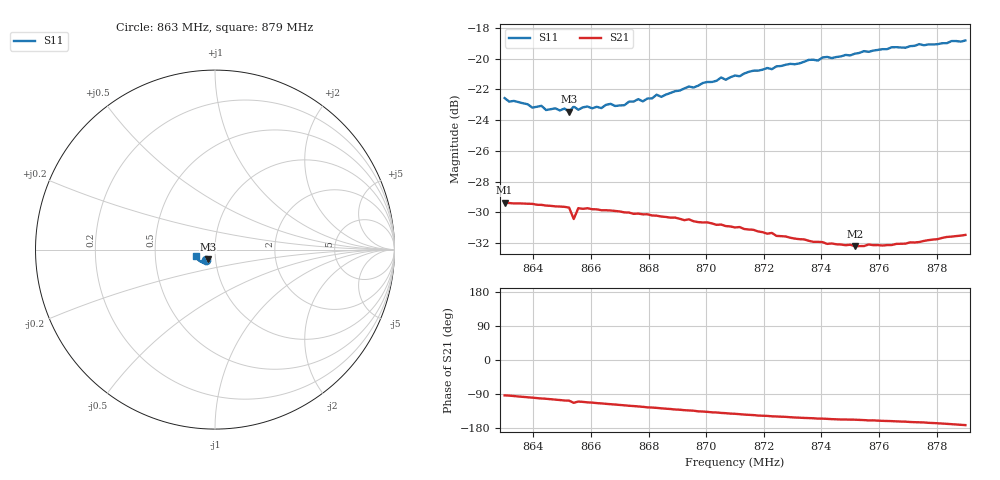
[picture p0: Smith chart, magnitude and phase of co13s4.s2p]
# HZ S RI R 50
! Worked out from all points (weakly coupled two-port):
!   101 points, 863 MHz to 879 MHz, reference 50 ohm
!   highest |S21| = -29.36 dB at 863 MHz (marker M1); lowest = -32.2 dB at 875.16 MHz (marker M2)
!   lowest |S11| = -23.5 dB at 865.24 MHz (marker M3), VSWR 1.14, Z = 46 - j5.1 ohm
!   |S11| at or under -10 dB: start of sweep to end of sweep
!   S12 and S22 are empty: the file has one direction only
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8.63e8  -0.0476 -0.0572  -0.00197 -0.034  0 0  0 0
8.6396e8  -0.0424 -0.0548  -0.00547 -0.0333  0 0  0 0
8.6428e8  -0.0425 -0.0559  -0.0067 -0.0328  0 0  0 0
8.6444e8  -0.0411 -0.0542  -0.0071 -0.0325  0 0  0 0
8.6508e8  -0.0389 -0.0568  -0.00959 -0.0316  0 0  0 0
8.6524e8  -0.0384 -0.0551  -0.00979 -0.0313  0 0  0 0
8.654e8  -0.0404 -0.057  -0.0118 -0.0277  0 0  0 0
8.6556e8  -0.0393 -0.0557  -0.011 -0.0308  0 0  0 0
8.6572e8  -0.0382 -0.058  -0.0114 -0.0304  0 0  0 0
8.6716e8  -0.0357 -0.0609  -0.0156 -0.0275  0 0  0 0
8.6764e8  -0.0372 -0.0638  -0.0169 -0.0264  0 0  0 0
8.678e8  -0.0363 -0.0629  -0.0172 -0.026  0 0  0 0
8.6828e8  -0.0385 -0.0659  -0.0183 -0.0249  0 0  0 0
8.6844e8  -0.0375 -0.065  -0.0187 -0.0243  0 0  0 0
8.694e8  -0.0425 -0.0691  -0.0205 -0.0219  0 0  0 0
8.6956e8  -0.0432 -0.068  -0.0205 -0.0214  0 0  0 0
8.7052e8  -0.0488 -0.0719  -0.022 -0.0187  0 0  0 0
8.71e8  -0.0514 -0.0715  -0.0223 -0.0174  0 0  0 0
8.7372e8  -0.0687 -0.0715  -0.0228 -0.0112  0 0  0 0
8.7516e8  -0.0802 -0.0657  -0.0227 -0.00939  0 0  0 0
8.7644e8  -0.0914 -0.0591  -0.0235 -0.00795  0 0  0 0
8.79e8  -0.1083 -0.0373  -0.0265 -0.00382  0 0  0 0
